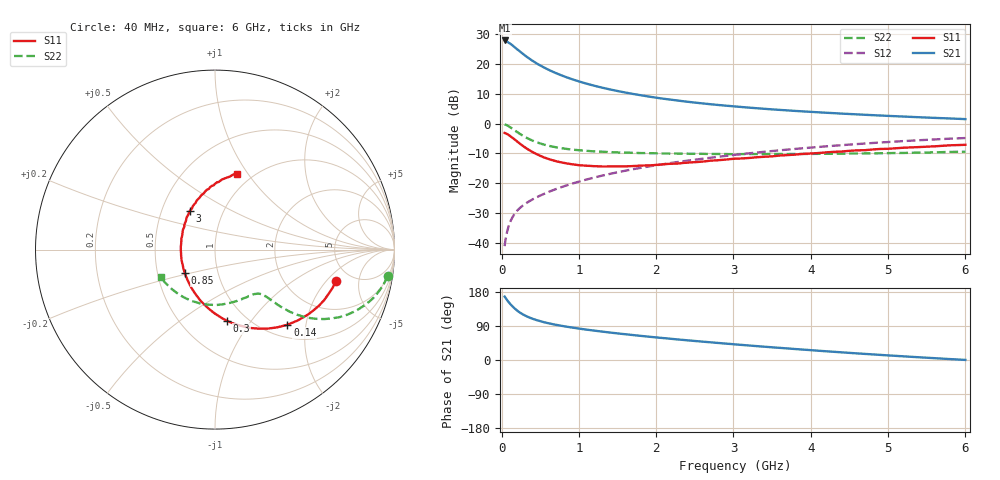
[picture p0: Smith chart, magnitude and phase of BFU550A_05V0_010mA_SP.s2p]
! Filename:  P:\Prog\Test\Noise\ATS_data\Testdata_Net\03 Spar\BFU550A_APG2013_35_C05_05p0V_010mA_SP_CM01_D.s2p
! Date/Time: Tue 16/Apr/2013 15:10:20
! BFU550A_APG2013_35_C05_05p0V_1to35mA_SP_CM01_Bias5_R.s2p
! MDIF S-parameter v. bias file
! BFU550A_APG2013_35_C05_05p0V_1to35mA_SP_CM01
! Date/time Mon Apr 15 15:41:37 2013
! VAR V_out= 5.0000
! VAR I_out= 9.9950
! VAR V_in= 0.8289
! VAR I_in= 0.1066
! Device data file deembeded for feedlines and parallel
! Original file: \03 Spar\BFU550A_APG2013_35_C05_05p0V_010mA_SP_CM01_R.s2p
! Feed-files: PR017V01_150413_Feed1.s2p, PR017V01_150413_Feed2.s2p
! Parallel-file: PR017V01_150413_Par.s2p
# MHz S MA R 50
!  Freq-MHz  S11-mag  S11-arg  S21-mag  S21-arg  S12-mag  S12-arg  S22-mag  S22-arg
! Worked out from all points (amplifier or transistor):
!   98 points, 40 MHz to 6 GHz, reference 50 ohm
!   highest |S21| = 28.0 dB at 40 MHz (marker M1)
!   |S21| within 3 dB of that: start of sweep to 204.1 MHz
!   unconditionally stable (mu >= 1): 1.332 GHz to 2.228 GHz
!   at 300 MHz: K = 0.62, MSG = 25.1 dB, |S12| = -27.1 dB
!   at 1.6 GHz: K = 1.01, MAG = 12.6 dB, |S12| = -15.8 dB
!   at 6 GHz: K = 0.91, MSG = 3.2 dB, |S12| = -4.8 dB
!   S11 on the Smith chart (normalised r, x): 40 MHz: 3.79, -2.57; 140 MHz: 1.25, -1.58; 300 MHz: 0.81, -0.77; 850 MHz: 0.69, -0.19; 3 GHz: 0.69, +0.32; 6 GHz: 0.85, +0.89
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40  0.6977 -14.4  25.09 167.4  0.008687 83.5  0.9731 -8.8
60  0.679 -21.3  24.31 161.4  0.01283 80.1  0.9507 -13.0
90  0.6463 -31.2  23.09 153.4  0.01843 76.0  0.9071 -18.6
120  0.6073 -40.5  21.81 146.1  0.02344 72.7  0.8576 -23.4
140  0.5814 -46.1  20.82 141.9  0.02637 71.0  0.8231 -26.1
180  0.5289 -56.4  18.85 134.2  0.03172 68.1  0.7558 -30.5
220  0.4809 -65.4  17.13 127.8  0.03627 66.5  0.6969 -33.7
260  0.4379 -73.3  15.54 122.3  0.04035 65.5  0.6452 -36.1
300  0.402 -80.5  14.15 117.8  0.04417 65.0  0.6015 -37.8
380  0.3451 -92.7  11.9 110.6  0.05128 64.7  0.5327 -39.9
440  0.3131 -100.8  10.61 106.2  0.05652 65.0  0.4952 -40.7
500  0.2883 -108.0  9.535 102.5  0.06166 65.3  0.4654 -41.3
650  0.2447 -124.0  7.606 95.1  0.07457 66.3  0.4137 -42.1
850  0.2138 -142.0  5.969 87.6  0.09219 67.2  0.3745 -43.0
1050  0.198 -157.1  4.914 81.5  0.1102 67.6  0.3529 -44.4
1500  0.1912 175.4  3.542 70.2  0.152 66.8  0.3281 -49.5
2050  0.2043 151.8  2.676 58.6  0.204 64.0  0.3159 -58.3
3000  0.2564 123.6  1.958 41.6  0.2969 57.3  0.3064 -77.5
3100  0.2595 121.2  1.908 39.9  0.3069 56.4  0.3073 -79.8
4100  0.3203 101.1  1.552 24.5  0.4054 47.2  0.3105 -103.8
5200  0.3934 84.1  1.316 9.7  0.5093 35.6  0.3216 -131.5
6000  0.4405 73.5  1.192 0.2  0.5728 26.7  0.337 -153.1
